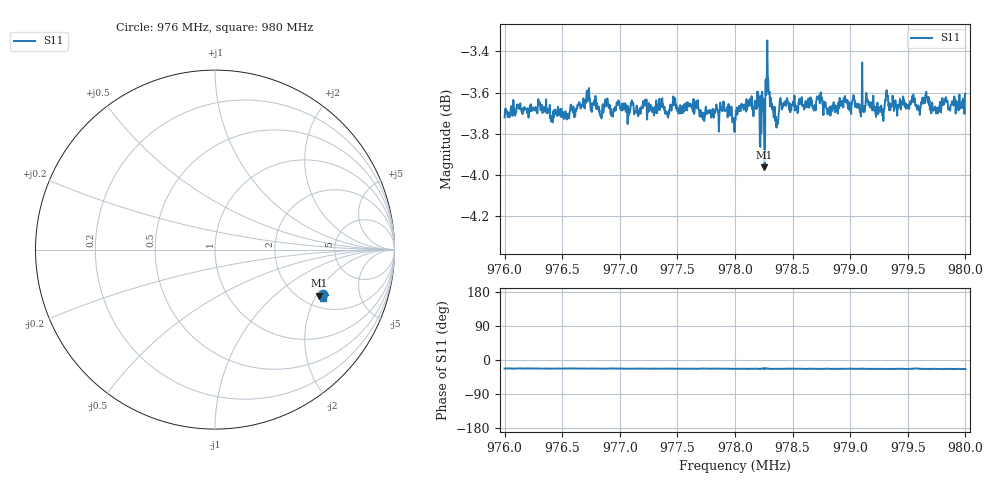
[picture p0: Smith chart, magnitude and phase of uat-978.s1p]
! Calibrated averaged scanner-service zoom
# Hz S RI R 50
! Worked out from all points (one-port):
!   1001 points, 976 MHz to 980 MHz, reference 50 ohm
!   lowest |S11| = -4.0 dB at 978.256 MHz (marker M1), VSWR 4.46, Z = 123 - j106 ohm
!   |S11| at or under -10 dB: nowhere
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9.76e8  0.6017 -0.2499
9.76124e8  0.6064 -0.2472
9.765e8  0.603 -0.2517
9.76604e8  0.6029 -0.2473
9.7672e8  0.6062 -0.2543
9.7684e8  0.6005 -0.2519
9.77e8  0.6055 -0.2509
9.775e8  0.6019 -0.2552
9.7766e8  0.6029 -0.2589
9.7774e8  0.6016 -0.2521
9.77912e8  0.6022 -0.2547
9.78e8  0.5987 -0.2568
9.78204e8  0.6041 -0.2606
9.78236e8  0.6081 -0.2593
9.78256e8  0.5789 -0.2574
9.78284e8  0.6158 -0.2562
9.78352e8  0.5993 -0.2568
9.785e8  0.6042 -0.256
9.78736e8  0.6028 -0.2607
9.79e8  0.6034 -0.2533
9.7916e8  0.6015 -0.2618
9.795e8  0.6006 -0.2619
9.79572e8  0.6079 -0.2471
9.79668e8  0.603 -0.266
9.79732e8  0.6003 -0.2621
9.79796e8  0.5992 -0.268
9.79856e8  0.602 -0.2588
9.8e8  0.6039 -0.2671
